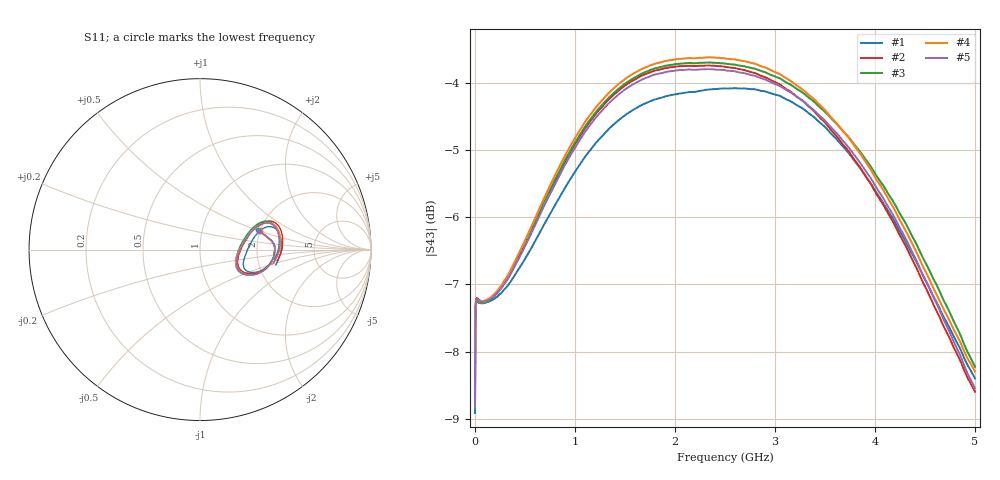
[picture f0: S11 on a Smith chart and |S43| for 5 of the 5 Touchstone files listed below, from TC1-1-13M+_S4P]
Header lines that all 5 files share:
!MINI CIRCUITS LABORATORY
!MODEL:TC1-1-13M+
!RUN/LOT/DATE CODE:MX88570
!FIXTURE USED:90-2-20-199,S/N66156
!CONNECTION:PORT1-PIN6,PORT2-PIN4,PORT3-PIN1,PORT4-PIN3; PIN 2,5-GRND
!Data & Calibration Information:
!Freq	S11:SOLT4(ON)	S12:SOLT4(ON)	S13:SOLT4(ON)	S14:SOLT4(ON)
!	S21:SOLT4(ON)	S22:SOLT4(ON)	S23:SOLT4(ON)	S24:SOLT4(ON)
!	S31:SOLT4(ON)	S32:SOLT4(ON)	S33:SOLT4(ON)	S34:SOLT4(ON)
!	S41:SOLT4(ON)	S42:SOLT4(ON)	S43:SOLT4(ON)	S44:SOLT4(ON)
# Hz S dB R 50
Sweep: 1 MHz to 5 GHz
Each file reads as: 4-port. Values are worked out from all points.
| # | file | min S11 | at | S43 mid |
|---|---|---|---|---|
| 1 | UNIT1.S4P | -11.6 dB | 2.054 GHz | -4.1 dB at 2.501 GHz |
| 2 | UNIT2.S4P | -12.9 dB | 2.041 GHz | -3.8 dB at 2.501 GHz |
| 3 | UNIT3.S4P | -13.3 dB | 2.144 GHz | -3.7 dB at 2.501 GHz |
| 4 | UNIT4.S4P | -13.2 dB | 2.032 GHz | -3.6 dB at 2.501 GHz |
| 5 | UNIT5.S4P | -13.0 dB | 2.144 GHz | -3.8 dB at 2.501 GHz |
